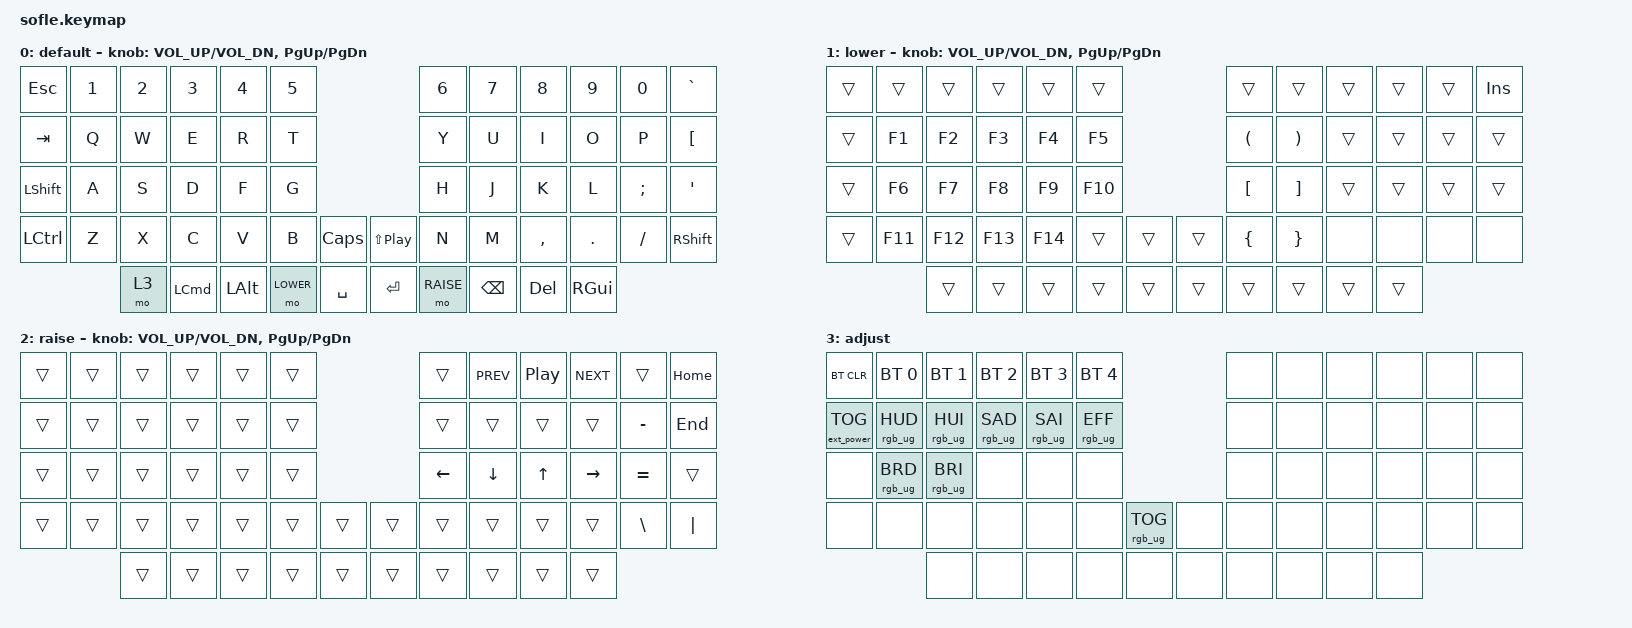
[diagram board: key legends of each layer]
/*
 * Copyright (c) 2020 The ZMK Contributors
 *
 * SPDX-License-Identifier: MIT
 */

#include <behaviors.dtsi>
#include <dt-bindings/zmk/bt.h>
#include <dt-bindings/zmk/ext_power.h>
#include <dt-bindings/zmk/keys.h>
#include <dt-bindings/zmk/rgb.h>

#define BASE 0
#define LOWER 1
#define RAISE 2
#define ADJUST 3

/ {
    // Activate ADJUST layer by pressing raise and lower

    conditional_layers { compatible = "zmk,conditional-layers"; };

    keymap {
        compatible = "zmk,keymap";

        default_layer {
            display-name = "default";

            // ------------------------------------------------------------------------------------------------------------
            // |   `   |  1  |  2  |  3   |  4   |  5   |                   |  6   |  7    |  8    |  9   |   0   |       |
            // |  ESC  |  Q  |  W  |  E   |  R   |  T   |                   |  Y   |  U    |  I    |  O   |   P   | BKSPC |
            // |  TAB  |  A  |  S  |  D   |  F   |  G   |                   |  H   |  J    |  K    |  L   |   ;   |   '   |
            // | SHIFT |  Z  |  X  |  C   |  V   |  B   |  MUTE  |  |       |  N   |  M    |  ,    |  .   |   /   | SHIFT |
            //               | GUI | ALT  | CTRL | LOWER|  ENTER |  | SPACE | RAISE| CTRL  | ALT   | GUI  |

            bindings = <
&kp ESC         &kp N1  &kp N2  &kp N3            &kp N4        &kp N5                                           &kp N6     &kp N7         &kp N8     &kp N9    &kp N0    &kp GRAVE
&kp TAB         &kp Q   &kp W   &kp E             &kp R         &kp T                                            &kp Y      &kp U          &kp I      &kp O     &kp P     &kp LEFT_BRACKET
&kp LEFT_SHIFT  &kp A   &kp S   &kp D             &kp F         &kp G                                            &kp H      &kp J          &kp K      &kp L     &kp SEMI  &kp SQT
&kp LCTRL       &kp Z   &kp X   &kp C             &kp V         &kp B      &kp CAPSLOCK    &kp LS(C_PLAY_PAUSE)  &kp N      &kp M          &kp COMMA  &kp DOT   &kp FSLH  &kp RSHFT
                        &mo 3   &kp LEFT_COMMAND  &kp LEFT_ALT  &mo LOWER  &kp SPACE       &kp ENTER             &mo RAISE  &kp BACKSPACE  &kp DEL    &kp RGUI
            >;

            sensor-bindings = <&inc_dec_kp C_VOL_UP C_VOL_DN &inc_dec_kp PG_UP PG_DN>;
        };

        lower_layer {
            display-name = "lower";

            // TODO: Some binds are waiting for shifted keycode support.
            // ------------------------------------------------------------------------------------------------------------
            // |       |  F1 |  F2 |  F3  |  F4  |  F5  |                   |  F6  |  F7   |  F8   |  F9  |  F10  |  F11  |
            // |   `   |  1  |  2  |  3   |  4   |  5   |                   |  6   |  7    |  8    |  9   |   0   |  F12  |
            // |       |  !  |  @  |  #   |  $   |  %   |                   |  ^   |  &    |  *    |  (   |   )   |   |   |
            // |       |  =  |  -  |  +   |  {   |  }   |        |  |       |  [   |  ]    |  ;    |  :   |   \   |       |
            //               |     |      |      |      |        |  |       |      |       |       |      |

            bindings = <
&trans  &trans   &trans   &trans   &trans   &trans                     &trans                &trans                 &trans  &trans  &trans  &kp INSERT
&trans  &kp F1   &kp F2   &kp F3   &kp F4   &kp F5                     &kp LEFT_PARENTHESIS  &kp RIGHT_PARENTHESIS  &trans  &trans  &trans  &trans
&trans  &kp F6   &kp F7   &kp F8   &kp F9   &kp F10                    &kp LEFT_BRACKET      &kp RIGHT_BRACKET      &trans  &trans  &trans  &trans
&trans  &kp F11  &kp F12  &kp F13  &kp F14  &trans   &trans    &trans  &kp LEFT_BRACE        &kp RIGHT_BRACE        &none   &none   &none   &none
                 &trans   &trans   &trans   &trans   &trans    &trans  &trans                &trans                 &trans  &trans
            >;

            sensor-bindings = <&inc_dec_kp C_VOL_UP C_VOL_DN &inc_dec_kp PG_UP PG_DN>;
        };

        raise_layer {
            display-name = "raise";

            // ------------------------------------------------------------------------------------------------------------
            // | BTCLR | BT1  | BT2  |  BT3  |  BT4  |  BT5 |                |      |      |       |      |       |       |
            // |       | INS  | PSCR | GUI   |       |      |                | PGUP |      |   ^   |      |       |       |
            // |       | ALT  | CTRL | SHIFT |       | CAPS |                | PGDN |   <- |   v   |  ->  |  DEL  | BKSPC |
            // |       | UNDO | CUT  | COPY  | PASTE |      |      |  |      |      |      |       |      |       |       |
            //                |      |       |       |      |      |  |      |      |      |       |      |

            bindings = <
&trans  &trans  &trans  &trans  &trans  &trans                    &trans    &kp C_PREV  &kp C_PP  &kp C_NEXT  &trans         &kp HOME
&trans  &trans  &trans  &trans  &trans  &trans                    &trans    &trans      &trans    &trans      &kp MINUS      &kp END
&trans  &trans  &trans  &trans  &trans  &trans                    &kp LEFT  &kp DOWN    &kp UP    &kp RIGHT   &kp EQUAL      &trans
&trans  &trans  &trans  &trans  &trans  &trans  &trans    &trans  &trans    &trans      &trans    &trans      &kp BACKSLASH  &kp PIPE
                &trans  &trans  &trans  &trans  &trans    &trans  &trans    &trans      &trans    &trans
            >;

            sensor-bindings = <&inc_dec_kp C_VOL_UP C_VOL_DN &inc_dec_kp PG_UP PG_DN>;
        };

        adjust_layer {
            // ----------------------------------------------------------------------------------------------------------------------------
            // | BTCLR  |  BT1    |  BT2    |   BT3   |   BT4   |   BT5   |                  |      |      |       |      |       |       |
            // | EXTPWR | RGB_HUD | RGB_HUI | RGB_SAD | RGB_SAI | RGB_EFF |                  |      |      |       |      |       |       |
            // |        | RGB_BRD | RGB_BRI |         |         |         |                  |      |      |       |      |       |       |
            // |        |         |         |         |         |         | RGB_TOG | |      |      |      |       |      |       |       |
            //                    |         |         |         |         |         | |      |      |      |       |      |

            display-name = "adjust";
            bindings = <
&bt BT_CLR         &bt BT_SEL 0     &bt BT_SEL 1     &bt BT_SEL 2     &bt BT_SEL 3     &bt BT_SEL 4                               &none  &none  &none  &none  &none  &none
&ext_power EP_TOG  &rgb_ug RGB_HUD  &rgb_ug RGB_HUI  &rgb_ug RGB_SAD  &rgb_ug RGB_SAI  &rgb_ug RGB_EFF                            &none  &none  &none  &none  &none  &none
&none              &rgb_ug RGB_BRD  &rgb_ug RGB_BRI  &none            &none            &none                                      &none  &none  &none  &none  &none  &none
&none              &none            &none            &none            &none            &none            &rgb_ug RGB_TOG    &none  &none  &none  &none  &none  &none  &none
                                    &none            &none            &none            &none            &none              &none  &none  &none  &none  &none
            >;
        };
    };
};
